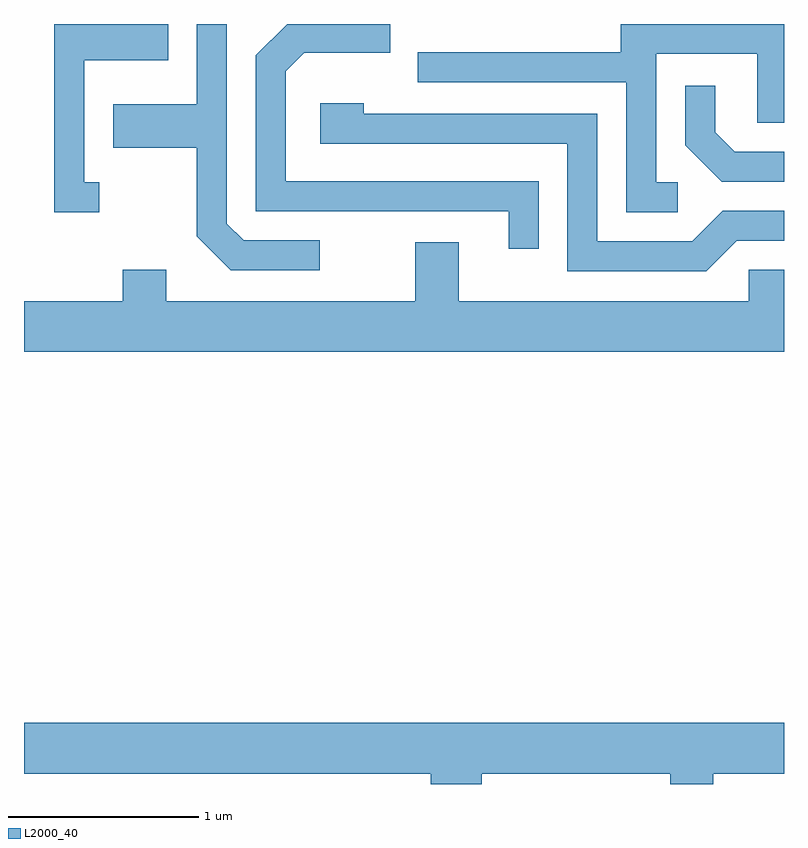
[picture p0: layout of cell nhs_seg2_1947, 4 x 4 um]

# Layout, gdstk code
import gdstk
lib = gdstk.Library(unit=1e-6, precision=1e-09)
def P(c, l, *ps):  # polygons
    for p in ps: c.add(gdstk.Polygon(p, *l))
L2000_40 = (2000, 40)

nhs_seg2_1947 = lib.new_cell('nhs_seg2_1947')
P(nhs_seg2_1947, L2000_40, [(243.168,1066.664),(242.767,1066.664),(242.679,1066.752),(242.679,1067.802),(242.521,1067.802),(242.521,1067.379),(242.081,1067.379),(242.081,1067.151),(242.521,1067.151),(242.521,1066.684),(242.699,1066.506),(243.168,1066.506)],
  [(245.053,1066.969),(244.939,1066.969),(244.939,1067.646),(245.471,1067.646),(245.471,1067.281),(245.611,1067.281),(245.611,1067.802),(244.751,1067.802),(244.751,1067.654),(243.683,1067.654),(243.683,1067.496),(244.781,1067.496),(244.781,1066.811),(245.053,1066.811)],
  [(242.008,1066.969),(241.929,1066.969),(241.929,1067.611),(242.369,1067.611),(242.369,1067.802),(241.771,1067.802),(241.771,1066.811),(242.008,1066.811)],
  [(244.319,1066.974),(242.989,1066.974),(242.989,1067.554),(243.087,1067.651),(243.539,1067.651),(243.539,1067.802),(242.997,1067.802),(242.831,1067.637),(242.831,1066.816),(244.161,1066.816),(244.161,1066.618),(244.319,1066.618)],
  [(245.611,1067.129),(245.352,1067.129),(245.249,1067.232),(245.249,1067.478),(245.091,1067.478),(245.091,1067.164),(245.284,1066.971),(245.611,1066.971)],
  [(245.362,1066.661),(245.611,1066.661),(245.611,1066.819),(245.289,1066.819),(245.129,1066.659),(244.629,1066.659),(244.629,1067.329),(243.399,1067.329),(243.399,1067.384),(243.171,1067.384),(243.171,1067.171),(244.471,1067.171),(244.471,1066.501),(245.202,1066.501)],
  [(245.611,1066.509),(245.426,1066.509),(245.426,1066.344),(243.899,1066.344),(243.899,1066.654),(243.671,1066.654),(243.671,1066.344),(242.359,1066.344),(242.359,1066.509),(242.131,1066.509),(242.131,1066.344),(241.611,1066.344),(241.611,1066.076),(245.611,1066.076)],
  [(244.019,1063.856),(245.011,1063.856),(245.011,1063.802),(245.239,1063.802),(245.239,1063.856),(245.611,1063.856),(245.611,1064.124),(241.611,1064.124),(241.611,1063.856),(243.751,1063.856),(243.751,1063.802),(244.019,1063.802)])

lib.write_gds('nhs_seg2_1947.gds')
